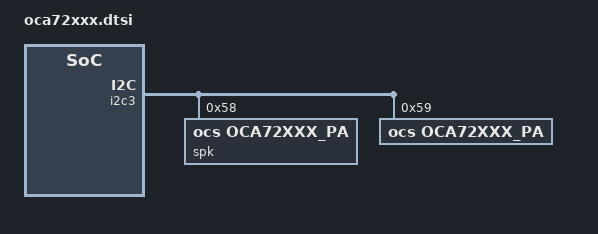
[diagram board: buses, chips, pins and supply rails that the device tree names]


&i2c3 {
/* OCS OCA72XXX Smart K PA */
	spk:oca72xxx_pa@58 {
		compatible = "ocs,oca72xxx_pa";
		reg = <0x58>;
	/*	reset-gpio = <&ap_gpio 1 0>; oca72390没有reset,oca72559需要打开*/
		dev_index = < 0 >;
		status = "okay";
	};

	oca72xxx_pa@59 {
		compatible = "ocs,oca72xxx_pa";
		reg = <0x59>;
	/*	reset-gpio = <&ap_gpio 7 0>; oca72390没有reset,oca72559需要打开*/
		dev_index = < 1 >;
		status = "okay";
	};
/* OCS OCA72XXX Smart K PA End */
};
